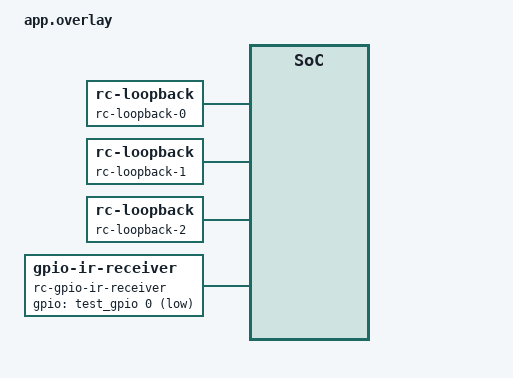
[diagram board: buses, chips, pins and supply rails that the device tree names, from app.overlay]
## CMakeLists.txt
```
# SPDX-FileCopyrightText: Copyright (c) 2026 Linumiz
# SPDX-License-Identifier: Apache-2.0

cmake_minimum_required(VERSION 3.28.0)
find_package(Zephyr REQUIRED HINTS $ENV{ZEPHYR_BASE})
project(build_all)

target_sources(app PRIVATE src/main.c)
```

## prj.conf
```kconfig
# SPDX-FileCopyrightText: Copyright (c) 2026 Linumiz
# SPDX-License-Identifier: Apache-2.0

CONFIG_RC=y
CONFIG_GPIO=y
```

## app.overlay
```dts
/*
 * SPDX-FileCopyrightText: Copyright (c) 2026 Linumiz
 * SPDX-License-Identifier: Apache-2.0
 */

#include <zephyr/dt-bindings/gpio/gpio.h>
#include <zephyr/dt-bindings/rc/rc-proto.h>

/ {
	rc-loopback-0 {
		compatible = "zephyr,rc-loopback";
		status = "okay";
	};

	rc-loopback-1 {
		compatible = "zephyr,rc-loopback";
		protocols = <RC_PROTO_NEC RC_PROTO_RC5>;
		rx-timeout-us = <100000>;
		status = "okay";
	};

	rc-loopback-2 {
		compatible = "zephyr,rc-loopback";
		hw-rx-timeout;
		rx-timeout-us = <5000>;
		status = "okay";
	};

	test {
		#address-cells = <1>;
		#size-cells = <1>;

		test_gpio: gpio@0 {
			compatible = "vnd,gpio";
			reg = <0x0 0x1000>;
			gpio-controller;
			#gpio-cells = <0x2>;
			status = "okay";
		};
	};

	rc-gpio-ir-receiver {
		compatible = "gpio-ir-receiver";
		gpios = <&test_gpio 0 GPIO_ACTIVE_LOW>;
		protocols = <RC_PROTO_NEC>;
		status = "okay";
	};
};
```

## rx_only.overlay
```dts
/*
 * SPDX-FileCopyrightText: Copyright (c) 2026 Linumiz
 * SPDX-License-Identifier: Apache-2.0
 */

/ {
	rc-loopback-0 {
		rx-only;
	};

	rc-loopback-1 {
		rx-only;
	};

	rc-loopback-2 {
		rx-only;
	};
};
```

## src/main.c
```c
/*
 * SPDX-FileCopyrightText: Copyright (c) 2026 Linumiz
 * SPDX-License-Identifier: Apache-2.0
 */

int main(void)
{
	return 0;
}
```
